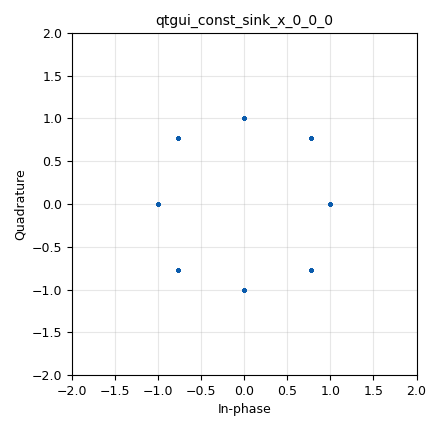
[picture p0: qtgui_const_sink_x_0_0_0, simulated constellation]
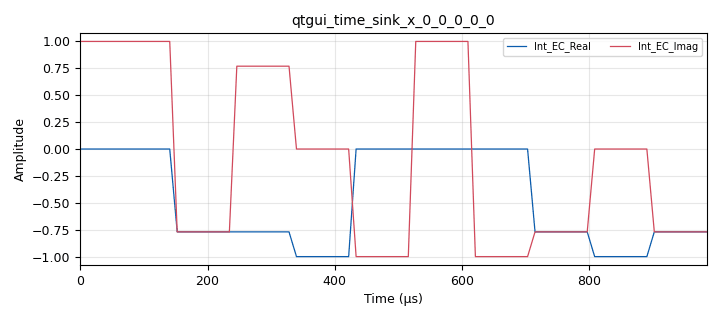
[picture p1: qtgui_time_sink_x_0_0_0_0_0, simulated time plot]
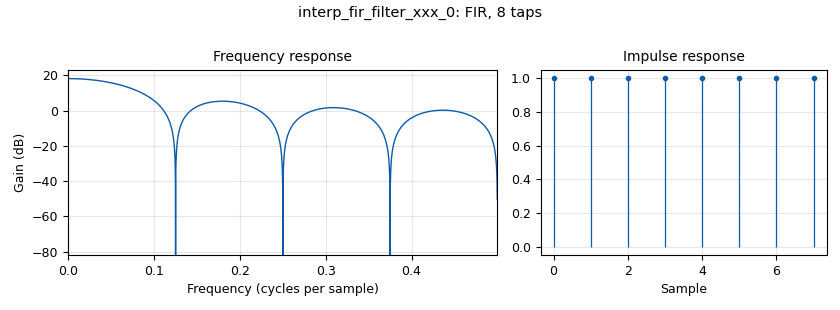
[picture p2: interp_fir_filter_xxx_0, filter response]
options:
  parameters:
    generate_options: qt_gui
    id: MPSK
    output_language: python
    title: 8PSK
  states: {}

blocks:
- name: M
  id: variable
  parameters:
    value: '8'
  states: {}
- name: M
  id: variable
  parameters:
    value: '4'
  states: {state: disabled}
- name: MPSK_con
  id: variable
  parameters:
    value: (1+0j, 0.77+0.77j, 0+1j, -0.77+0.77j, -1+0j, -0.77-0.77j, 0-1j, 0.77-0.77j)
  states: {}
- name: Nbps
  id: variable
  parameters:
    value: int(math.log(M,2))
  states: {}
- name: Rb
  id: variable
  parameters:
    value: '32000'
  states: {}
- name: Rs
  id: variable
  parameters:
    value: Rb/Nbps
  states: {}
- name: Sps
  id: variable
  parameters:
    value: len(h)
  states: {}
- name: constelation
  id: variable
  parameters:
    value: (1+0j , 0+1j, -1+0j, 0-1j)
  states: {}
- name: h
  id: variable
  parameters:
    value: '[1.,1.,1.,1.,1.,1.,1.,1.]'
  states: {}
- name: samp_rate
  id: variable
  parameters:
    value: Rs*Sps
  states: {}
- name: analog_const_source_x_0
  id: analog_const_source_x
  parameters:
    const: '1'
    type: float
  states: {state: disabled}
- name: analog_noise_source_x_0
  id: analog_noise_source_x
  parameters:
    amp: '0.1'
    noise_type: analog.GR_GAUSSIAN
    seed: '0'
    type: complex
  states: {state: disabled}
- name: analog_random_source_x_0
  id: analog_random_source_x
  parameters:
    max: '2'
    min: '0'
    num_samps: '1000'
    repeat: 'True'
    type: byte
  states: {}
- name: blocks_add_xx_0
  id: blocks_add_xx
  parameters:
    type: complex
  states: {state: disabled}
- name: blocks_char_to_float_0
  id: blocks_char_to_float
  parameters:
    scale: '1'
  states: {state: disabled}
- name: blocks_char_to_float_0_0
  id: blocks_char_to_float
  parameters:
    scale: '1'
  states: {state: disabled}
- name: blocks_char_to_float_0_0_0
  id: blocks_char_to_float
  parameters:
    scale: '1'
  states: {state: disabled}
- name: blocks_complex_to_mag_squared_0
  id: blocks_complex_to_mag_squared
  parameters: {}
  states: {state: disabled}
- name: blocks_multiply_const_vxx_0
  id: blocks_multiply_const_vxx
  parameters:
    const: 2*math.pi/M
    type: float
  states: {state: disabled}
- name: blocks_null_sink_0
  id: blocks_null_sink
  parameters:
    type: complex
  states: {state: disabled}
- name: blocks_repack_bits_bb_0
  id: blocks_repack_bits_bb
  parameters:
    endianness: gr.GR_LSB_FIRST
    k: '1'
    l: Nbps
  states: {}
- name: blocks_stream_to_vector_0
  id: blocks_stream_to_vector
  parameters:
    num_items: '1024'
    type: complex
  states: {state: disabled}
- name: blocks_stream_to_vector_0_0
  id: blocks_stream_to_vector
  parameters:
    num_items: '1024'
    type: float
  states: {state: disabled}
- name: blocks_throttle2_0
  id: blocks_throttle2
  parameters:
    samples_per_second: samp_rate
    type: complex
  states: {}
- name: blocks_vector_to_stream_0
  id: blocks_vector_to_stream
  parameters:
    num_items: '1024'
    type: complex
  states: {state: disabled}
- name: digital_chunks_to_symbols_xx_0
  id: digital_chunks_to_symbols_xx
  parameters:
    dimension: '1'
    in_type: byte
    out_type: complex
    symbol_table: constelation
  states: {state: disabled}
- name: digital_chunks_to_symbols_xx_0_0
  id: digital_chunks_to_symbols_xx
  parameters:
    dimension: '1'
    in_type: byte
    out_type: complex
    symbol_table: MPSK_con
  states: {}
- name: epy_block_0
  id: epy_block
  parameters:
    _source_code: |-
      """
      Embedded Python Blocks:

      Each time this file is saved, GRC will instantiate the first class it finds
      to get ports and parameters of your block. The arguments to __init__  will
      be the parameters. All of them are required to have default values!
      """

      import numpy as np
      from gnuradio import gr


      class blk(gr.sync_block):  # other base classes are basic_block, decim_block, interp_block
          """Embedded Python Block example - a simple multiply const"""

          def __init__(self, example_param=1.0):  # only default arguments here
              """Dos entradas, una salida"""
              gr.sync_block.__init__(
                  self,
                  name='VCO Complex',   # will show up in GRC
                  in_sig=[np.float32, np.float32],
                  out_sig=[np.complex64]
              )
              # if an attribute with the same name as a parameter is found,
              # a callback is registered (properties work, too).
              self.example_param = example_param

          def work(self, input_items, output_items):
              """Q manipula fase en radianes, A manipula amplitud"""
              Q = input_items[0]
              A = input_items[1]
              Sec = output_items[0]
              Sec[:] = A*np.exp(1.j*Q)

              return len(Sec)
    example_param: '1.0'
  states: {state: disabled}
- name: fft_vxx_0
  id: fft_vxx
  parameters:
    fft_size: '1024'
    forward: 'True'
    shift: 'True'
    type: complex
    window: window.blackmanharris(1024)
  states: {state: disabled}
- name: import_0
  id: import
  parameters:
    imports: import math
  states: {}
- name: interp_fir_filter_xxx_0
  id: interp_fir_filter_xxx
  parameters:
    interp: Sps
    taps: h
    type: ccc
  states: {}
- name: qtgui_const_sink_x_0
  id: qtgui_const_sink_x
  parameters:
    size: '1024'
    type: complex
    width1: '3'
  states: {state: disabled}
- name: qtgui_const_sink_x_0_0
  id: qtgui_const_sink_x
  parameters:
    size: '1024'
    type: complex
    width1: '3'
  states: {state: disabled}
- name: qtgui_const_sink_x_0_0_0
  id: qtgui_const_sink_x
  parameters:
    size: '1024'
    type: complex
    width1: '3'
  states: {}
- name: qtgui_freq_sink_x_0
  id: qtgui_freq_sink_x
  parameters:
    average: '0.05'
    bw: samp_rate
    fc: '0'
    fftsize: '1024'
    type: complex
    width1: '3'
  states: {state: disabled}
- name: qtgui_time_sink_x_0
  id: qtgui_time_sink_x
  parameters:
    marker1: '0'
    size: '32'
    srate: Rb
    stemplot: 'True'
    type: float
    width1: '3'
  states: {state: disabled}
- name: qtgui_time_sink_x_0_0
  id: qtgui_time_sink_x
  parameters:
    label1: PSK
    marker1: '0'
    size: int(32/Nbps)
    srate: Rs
    stemplot: 'True'
    type: float
    width1: '3'
  states: {state: disabled}
- name: qtgui_time_sink_x_0_0_0
  id: qtgui_time_sink_x
  parameters:
    label1: Mod
    marker1: '0'
    size: int(32/Nbps)
    srate: Rs
    stemplot: 'True'
    type: float
    width1: '3'
  states: {state: disabled}
- name: qtgui_time_sink_x_0_0_0_0
  id: qtgui_time_sink_x
  parameters:
    label1: EC_Real
    label2: EC_Imag
    marker1: '0'
    marker2: '0'
    size: int(32/Nbps)
    srate: Rs
    stemplot: 'True'
    type: complex
    width1: '3'
    width2: '3'
  states: {state: disabled}
- name: qtgui_time_sink_x_0_0_0_0_0
  id: qtgui_time_sink_x
  parameters:
    label1: Int_EC_Real
    label2: Int_EC_Imag
    size: int(32*Sps/Nbps)
    srate: samp_rate
    type: complex
    width1: '3'
    width2: '3'
  states: {}
- name: qtgui_time_sink_x_0_0_0_0_1
  id: qtgui_time_sink_x
  parameters:
    label1: EC_Real
    label2: EC_Imag
    size: '512'
    srate: Rs
    type: complex
    width1: '3'
    width2: '3'
  states: {state: disabled}
- name: qtgui_vector_sink_f_0
  id: qtgui_vector_sink_f
  parameters:
    grid: 'True'
    vlen: '1024'
    x_start: '-samp_rate/2'
    x_step: samp_rate/1024
  states: {state: disabled}

connections:
- [analog_const_source_x_0, '0', epy_block_0, '1']
- [analog_noise_source_x_0, '0', blocks_add_xx_0, '0']
- [analog_noise_source_x_0, '0', qtgui_time_sink_x_0_0_0_0_1, '0']
- [analog_random_source_x_0, '0', blocks_char_to_float_0, '0']
- [analog_random_source_x_0, '0', blocks_repack_bits_bb_0, '0']
- [blocks_add_xx_0, '0', blocks_null_sink_0, '0']
- [blocks_add_xx_0, '0', qtgui_const_sink_x_0_0, '0']
- [blocks_char_to_float_0, '0', qtgui_time_sink_x_0, '0']
- [blocks_char_to_float_0_0, '0', qtgui_time_sink_x_0_0, '0']
- [blocks_char_to_float_0_0_0, '0', blocks_multiply_const_vxx_0, '0']
- [blocks_complex_to_mag_squared_0, '0', blocks_stream_to_vector_0_0, '0']
- [blocks_multiply_const_vxx_0, '0', epy_block_0, '0']
- [blocks_multiply_const_vxx_0, '0', qtgui_time_sink_x_0_0_0, '0']
- [blocks_repack_bits_bb_0, '0', blocks_char_to_float_0_0, '0']
- [blocks_repack_bits_bb_0, '0', blocks_char_to_float_0_0_0, '0']
- [blocks_repack_bits_bb_0, '0', digital_chunks_to_symbols_xx_0, '0']
- [blocks_repack_bits_bb_0, '0', digital_chunks_to_symbols_xx_0_0, '0']
- [blocks_stream_to_vector_0, '0', fft_vxx_0, '0']
- [blocks_stream_to_vector_0_0, '0', qtgui_vector_sink_f_0, '0']
- [blocks_throttle2_0, '0', blocks_add_xx_0, '1']
- [blocks_throttle2_0, '0', qtgui_const_sink_x_0_0_0, '0']
- [blocks_vector_to_stream_0, '0', blocks_complex_to_mag_squared_0, '0']
- [digital_chunks_to_symbols_xx_0, '0', interp_fir_filter_xxx_0, '0']
- [digital_chunks_to_symbols_xx_0_0, '0', interp_fir_filter_xxx_0, '0']
- [epy_block_0, '0', interp_fir_filter_xxx_0, '0']
- [epy_block_0, '0', qtgui_const_sink_x_0, '0']
- [epy_block_0, '0', qtgui_time_sink_x_0_0_0_0, '0']
- [fft_vxx_0, '0', blocks_vector_to_stream_0, '0']
- [interp_fir_filter_xxx_0, '0', blocks_add_xx_0, '1']
- [interp_fir_filter_xxx_0, '0', blocks_stream_to_vector_0, '0']
- [interp_fir_filter_xxx_0, '0', blocks_throttle2_0, '0']
- [interp_fir_filter_xxx_0, '0', qtgui_freq_sink_x_0, '0']
- [interp_fir_filter_xxx_0, '0', qtgui_time_sink_x_0_0_0_0_0, '0']

metadata:
  file_format: 1
  grc_version: v3.10.11.0-89-ga17f69e7
